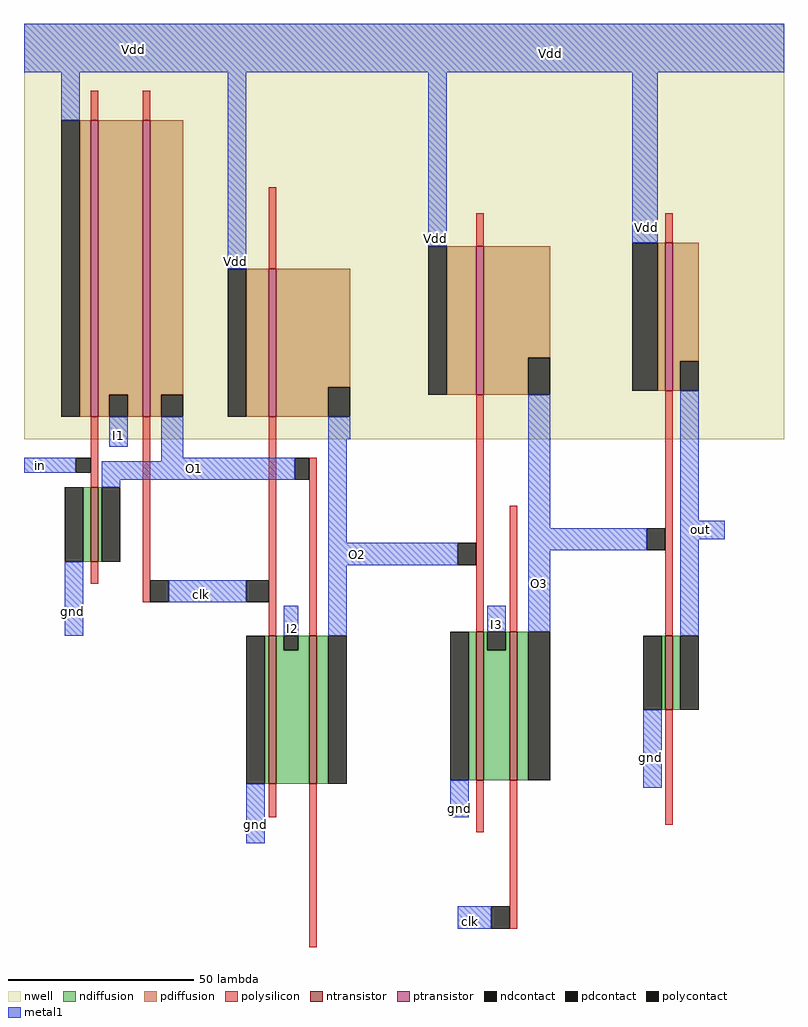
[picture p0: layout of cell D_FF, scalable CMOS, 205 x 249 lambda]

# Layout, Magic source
magic
tech scmos
<< nwell >>
rect -40 44 165 156
<< ntransistor >>
rect -22 11 -20 31
rect 26 -49 28 -9
rect 37 -49 39 -9
rect 82 -48 84 -8
rect 91 -48 93 -8
rect 133 -29 135 -9
<< ptransistor >>
rect -22 50 -20 130
rect -8 50 -6 130
rect 26 50 28 90
rect 82 56 84 96
rect 133 57 135 97
<< ndiffusion >>
rect -24 11 -22 31
rect -20 11 -19 31
rect 25 -49 26 -9
rect 28 -13 30 -9
rect 34 -13 37 -9
rect 28 -49 37 -13
rect 39 -49 42 -9
rect 80 -48 82 -8
rect 84 -13 85 -8
rect 90 -13 91 -8
rect 84 -48 91 -13
rect 93 -48 96 -8
rect 132 -29 133 -9
rect 135 -29 137 -9
<< pdiffusion >>
rect -25 50 -22 130
rect -20 56 -8 130
rect -20 50 -17 56
rect -12 50 -8 56
rect -6 56 3 130
rect -6 50 -3 56
rect 20 50 26 90
rect 28 58 48 90
rect 28 50 42 58
rect 74 56 82 96
rect 84 66 102 96
rect 84 56 96 66
rect 131 57 133 97
rect 135 65 142 97
rect 135 57 137 65
<< ndcontact >>
rect -29 11 -24 31
rect -19 11 -14 31
rect 20 -49 25 -9
rect 30 -13 34 -9
rect 42 -49 47 -9
rect 75 -48 80 -8
rect 85 -13 90 -8
rect 96 -48 102 -8
rect 127 -29 132 -9
rect 137 -29 142 -9
<< pdcontact >>
rect -30 50 -25 130
rect -17 50 -12 56
rect -3 50 3 56
rect 15 50 20 90
rect 42 50 48 58
rect 69 56 74 96
rect 96 56 102 66
rect 124 57 131 97
rect 137 57 142 65
<< polysilicon >>
rect -22 130 -20 138
rect -8 130 -6 138
rect 26 90 28 112
rect 82 96 84 105
rect 133 97 135 105
rect -22 31 -20 50
rect -22 5 -20 11
rect -8 0 -6 50
rect 26 -9 28 50
rect 37 -9 39 39
rect 82 -8 84 56
rect 91 -8 93 26
rect 133 -9 135 57
rect 26 -58 28 -49
rect 37 -93 39 -49
rect 82 -62 84 -48
rect 91 -88 93 -48
rect 133 -60 135 -29
<< polycontact >>
rect -26 35 -22 39
rect -6 0 -1 6
rect 20 0 26 6
rect 33 33 37 39
rect 77 10 82 16
rect 128 14 133 20
rect 86 -88 91 -82
<< metal1 >>
rect -40 143 165 156
rect -30 130 -25 143
rect 15 90 20 143
rect -17 42 -12 50
rect 69 96 74 143
rect 124 97 131 143
rect -3 39 3 50
rect 42 44 48 50
rect -40 35 -26 39
rect -3 38 33 39
rect -19 33 33 38
rect -19 31 -14 33
rect 42 16 47 44
rect 96 20 102 56
rect 137 22 142 57
rect -29 -9 -24 11
rect 42 10 77 16
rect 96 14 128 20
rect 137 17 149 22
rect -1 0 20 6
rect 30 -9 34 -1
rect 42 -9 47 10
rect 85 -8 90 -1
rect 96 -8 102 14
rect 137 -9 142 17
rect 20 -65 25 -49
rect 75 -58 80 -48
rect 127 -50 132 -29
rect 77 -88 86 -82
<< labels >>
rlabel metal1 -29 -3 -25 -2 1 gnd
rlabel metal1 -15 148 -6 150 1 Vdd
rlabel metal1 -37 36 -34 38 3 in
rlabel metal1 6 1 10 3 1 clk
rlabel metal1 21 -61 24 -59 1 gnd
rlabel metal1 128 -43 130 -41 1 gnd
rlabel metal1 140 19 145 20 1 out
rlabel metal1 77 -56 78 -55 1 gnd
rlabel metal1 79 -87 82 -85 1 clk
rlabel metal1 100 147 104 149 1 Vdd
rlabel metal1 4 35 8 37 1 O1
rlabel metal1 15 91 19 93 1 Vdd
rlabel metal1 69 97 73 99 1 Vdd
rlabel metal1 126 100 130 102 1 Vdd
rlabel metal1 97 4 101 6 1 O3
rlabel metal1 48 12 52 14 1 O2
rlabel metal1 -16 44 -13 46 1 I1
rlabel metal1 31 -8 34 -6 1 I2
rlabel metal1 86 -7 89 -5 1 I3
<< end >>
